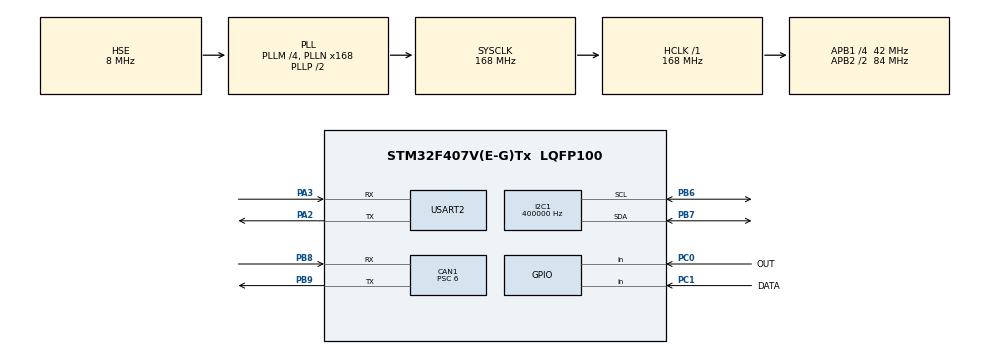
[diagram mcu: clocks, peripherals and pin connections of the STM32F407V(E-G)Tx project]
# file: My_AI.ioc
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CAN1.ABOM=ENABLE
CAN1.BS1=CAN_BS1_11TQ
CAN1.BS2=CAN_BS2_2TQ
CAN1.CalculateBaudRate=500000
CAN1.CalculateTimeBit=2000
CAN1.CalculateTimeQuantum=142.85714285714286
CAN1.NART=ENABLE
CAN1.Prescaler=6
Dma.Request0=USART2_RX
Dma.Request1=USART2_TX
Dma.USART2_RX.0.Direction=DMA_PERIPH_TO_MEMORY
Dma.USART2_RX.0.FIFOMode=DMA_FIFOMODE_DISABLE
Dma.USART2_RX.0.Instance=DMA1_Stream5
Dma.USART2_RX.0.MemDataAlignment=DMA_MDATAALIGN_BYTE
Dma.USART2_RX.0.MemInc=DMA_MINC_ENABLE
Dma.USART2_RX.0.Mode=DMA_NORMAL
Dma.USART2_RX.0.PeriphDataAlignment=DMA_PDATAALIGN_BYTE
Dma.USART2_RX.0.PeriphInc=DMA_PINC_DISABLE
Dma.USART2_RX.0.Priority=DMA_PRIORITY_LOW
Dma.USART2_TX.1.Direction=DMA_MEMORY_TO_PERIPH
Dma.USART2_TX.1.FIFOMode=DMA_FIFOMODE_DISABLE
Dma.USART2_TX.1.Instance=DMA1_Stream6
Dma.USART2_TX.1.MemDataAlignment=DMA_MDATAALIGN_BYTE
Dma.USART2_TX.1.MemInc=DMA_MINC_ENABLE
Dma.USART2_TX.1.Mode=DMA_NORMAL
Dma.USART2_TX.1.PeriphDataAlignment=DMA_PDATAALIGN_BYTE
Dma.USART2_TX.1.PeriphInc=DMA_PINC_DISABLE
Dma.USART2_TX.1.Priority=DMA_PRIORITY_LOW
I2C1.ClockSpeed=400000
Mcu.Family=STM32F4
Mcu.Name=STM32F407V(E-G)Tx
Mcu.Package=LQFP100
NVIC.DMA1_Stream5_IRQn=true\:5\:0\:false\:false\:true\:false\:true\:true
NVIC.DMA1_Stream6_IRQn=true\:5\:0\:false\:false\:true\:false\:true\:true
NVIC.PriorityGroup=NVIC_PRIORITYGROUP_4
NVIC.TIM6_DAC_IRQn=true\:15\:0\:false\:false\:true\:false\:true\:true
NVIC.TimeBase=TIM6_DAC_IRQn
NVIC.TimeBaseIP=TIM6
NVIC.USART2_IRQn=true\:5\:0\:false\:false\:true\:true\:true\:true
PA13.Mode=Serial_Wire
PA13.Signal=SYS_JTMS-SWDIO
PA14.Mode=Serial_Wire
PA14.Signal=SYS_JTCK-SWCLK
PA2.Mode=Asynchronous
PA2.Signal=USART2_TX
PA3.Mode=Asynchronous
PA3.Signal=USART2_RX
PB6.Mode=I2C
PB6.Signal=I2C1_SCL
PB7.Mode=I2C
PB7.Signal=I2C1_SDA
PB8.Mode=CAN_Activate
PB8.Signal=CAN1_RX
PB9.Mode=CAN_Activate
PB9.Signal=CAN1_TX
PC0.GPIO_Label=OUT
PC0.GPIO_PuPd=GPIO_PULLDOWN
PC0.Signal=GPIO_Input
PC1.GPIO_Label=DATA
PC1.GPIO_PuPd=GPIO_PULLDOWN
PC1.Signal=GPIO_Input
PH0-OSC_IN.Mode=HSE-External-Oscillator
PH0-OSC_IN.Signal=RCC_OSC_IN
PH1-OSC_OUT.Mode=HSE-External-Oscillator
PH1-OSC_OUT.Signal=RCC_OSC_OUT
ProjectManager.HeapSize=0x200
ProjectManager.StackSize=0x400
ProjectManager.TargetToolchain=STM32CubeIDE
RCC.48MHZClocksFreq_Value=84000000
RCC.AHBFreq_Value=168000000
RCC.APB1CLKDivider=RCC_HCLK_DIV4
RCC.APB1Freq_Value=42000000
RCC.APB1TimFreq_Value=84000000
RCC.APB2CLKDivider=RCC_HCLK_DIV2
RCC.APB2Freq_Value=84000000
RCC.APB2TimFreq_Value=168000000
RCC.CortexFreq_Value=168000000
RCC.HCLKFreq_Value=168000000
RCC.HSE_VALUE=8000000
RCC.HSI_VALUE=16000000
RCC.LSE_VALUE=32768
RCC.PLLM=4
RCC.PLLN=168
RCC.PLLSourceVirtual=RCC_PLLSOURCE_HSE
RCC.SYSCLKFreq_VALUE=168000000
RCC.SYSCLKSource=RCC_SYSCLKSOURCE_PLLCLK
RCC.VCOOutputFreq_Value=336000000
USART2.VirtualMode=VM_ASYNC
VP_SYS_VS_tim6.Mode=TIM6
board=custom

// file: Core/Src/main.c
/* USER CODE BEGIN Header */
/**
  ******************************************************************************
  * @file           : main.c
  * @brief          : Main program body
  ******************************************************************************
  * @attention
  *
  * Copyright (c) 2026 STMicroelectronics.
  * All rights reserved.
  *
  * This software is licensed under terms that can be found in the LICENSE file
  * in the root directory of this software component.
  * If no LICENSE file comes with this software, it is provided AS-IS.
  *
  ******************************************************************************
  */
/* USER CODE END Header */
#include "main.h"
#include "can.h"
#include "dma.h"
#include "i2c.h"
#include "usart.h"
#include "gpio.h"

/* USER CODE BEGIN Includes */
#include "FreeRTOS.h"
#include "task.h"

#include <stdio.h>          /* CAN_Start() 失败时的提示；printf 走 USART2，非阻塞 */

#include "driver_pir.h"
#include "dht11.h"
#include "oled_ui.h"
#include "app_report.h"
#include "app_cmd.h"
#include "isotp_port.h"
#include "dtc.h"
/* USER CODE END Includes */

void SystemClock_Config(void);
/* USER CODE BEGIN PFP */
static void StartDefaultTask(void *argument);
static void DisplayTask(void *argument);
/* USER CODE END PFP */

int main(void)
{

  /* MCU Configuration--------------------------------------------------------*/

  /* Reset of all peripherals, Initializes the Flash interface and the Systick. */
  HAL_Init();

  /* Configure the system clock */
  SystemClock_Config();

  /* Initialize all configured peripherals */
  MX_GPIO_Init();
  MX_DMA_Init();
  MX_CAN1_Init();
  MX_I2C1_Init();
  MX_USART2_UART_Init();
  /* USER CODE BEGIN 2 */
  /* 串口启动横幅：UART2(PA2/PA3, 115200 8N1) 初始化完立刻发一行。
     此刻调度器还没起来，printf 内部的 DMA 发送路径不依赖 RTOS，可以放心调。
     能收到这行 = 供电/时钟/接线/波特率都对；收不到再回去查 PA2 接的是不是
     接收端的 RX、是否共地、终端软件波特率是不是 115200 */
  printf("\r\n[My_AI] boot, UART2 (PA2/PA3) ready\r\n");

  /* PIR 初始化：只记下当前 tick 并清零状态，引脚本身已经在 MX_GPIO_Init()
     里配好了（PC0 输入 + 下拉，标签 OUT）。60s 预热窗口从这里开始算，所以必须
     放在启动阶段——放进任务里的话，等任务跑起来已经过去几百 ms 了 */
  PIR_Init();

  /* OLED 初始化：等 100ms 上电时间后写一整串初始化命令，并画出标题和分隔线。
     放在调度器启动前，正因为此时还没有别的任务，里面那 100ms 才允许用 HAL_Delay
     （驱动内部按"调度器起没起来"自己选，见 ssd1306.c）。屏没插、线接错也不影响
     启动，只是屏上什么都没有 */
  OLED_UI_Init();

  /* CAN 上线：配接收过滤器 + HAL_CAN_Start()。它不需要调度器，所以放在这里，
     开机 1s 内就能把第一个心跳帧发出去。
     失败不 Error_Handler()：那会关中断死循环，TIM6 时基停摆，连采集一起废掉
     （can.h 里有这条说明）。这里提示一句，之后什么帧都不会发出去。
     注意：总线上必须有别的节点应答（比如 Linux 端的 USB-CAN 适配器），
     单节点裸挂会一直 ACK 错误并最终 bus-off，见 Docs/CAN_Framing_Plan.md 第 8 节 */
  if (CAN_Start() != CAN_START_OK)
  {
    printf("[My_AI] CAN start FAILED, no frame will be sent\r\n");
  }
  else
  {
    printf("[My_AI] CAN started, 500 kbps\r\n");
  }

  /* 上报层初始化：清空快照。必须放在 PIR_Init() 之后——它要把当前 PIR 状态
     读进来当"上次见到的状态"的初值，否则第一轮会凭空发一帧事件帧 */
  Report_Init();

  /* 命令通道初始化：清空统计与去重缓存。必须放在 CAN_Start() 之后、
     调度器启动之前，避免启动初期收到的帧在缓存尚未就绪时被处理。
     CAN 接收从 CAN_Start() 起就是中断驱动的（中断只负责把帧搬进软件
     环形缓冲），命令的实际处理在 IsoTpPort_Task() 里（它排空缓冲后转给
     AppCmd_ProcessFrame()） */
  AppCmd_Init();

  /* ISO-TP 适配层初始化：只清状态、记住 TX/RX ID 和两个平台回调
     （tx_frame -> CAN_Send，now_ms -> HAL_GetTick），不碰总线。
     0x7E0/0x7E8 由下面的 ISO-TP 任务收发；当前只做 echo，不接 UDS */
  IsoTpPort_Init();

  /* 接收方向广播的流控参数默认已是 BS=8 / STmin=5ms（见 isotp_port.h 的
     ISOTP_PORT_BS_DEFAULT / ISOTP_PORT_STMIN_DEFAULT），要临时改可以在这里
     再调一次（必须在 Init 之后）。注意 STmin 必须大于 ISOTP_PORT_TASK_PERIOD_MS
     （1ms），否则会被强制成 0 并打印警告。
       IsoTpPort_SetFlowControl(8U, 5U); */

  printf("[My_AI] ISO-TP echo ready, rx 0x7E0 tx 0x7E8\r\n");

  /* 四个任务，除 ISO-TP 外栈都是 256 字（1KB）：printf/snprintf 的传播路径
     大约要 300 字节，长时间调试时用 uxTaskGetStackHighWaterMark() 看还剩多少。
     ISO-TP 任务给 384 字：它每收完一条消息都要打统计行，isotp_report_tx_done()
     本身有 208 字节局部变量，再叠加 printf 的调用深度，1KB 余量偏紧。

     PIR 采样(+2) 和 ISO-TP(+2) 最高：前者采样周期只有 10ms，得能抢占刷屏
     （刷一帧 OLED 要阻塞在 I2C 上约 25ms）；后者按 1ms 周期跑 STmin/N_Cr。
     两者都只做短促的工作，不会互相饿死。
     显示(+1) 和上报(+1) 同级：上报是秒级的活，靠时间片轮转就够，
     不该去抢采样的 CPU（同级任务在 tick 边界轮转，刷屏那 25ms 挡不住上报） */
  if (xTaskCreate(StartDefaultTask, "defaultTask", 256, NULL,
                  tskIDLE_PRIORITY + 2, NULL) != pdPASS)
  {
    Error_Handler();   /* 建不起来多半是 configTOTAL_HEAP_SIZE 不够 */
  }

  if (xTaskCreate(DisplayTask, "displayTask", 256, NULL,
                  tskIDLE_PRIORITY + 1, NULL) != pdPASS)
  {
    Error_Handler();
  }

  /* 上报任务：发周期帧和事件帧（见 app_report.c）。每 100ms 醒一次，
     被 PIR 跳变通知时提前醒。发送侧的并发由 CAN_Send() 内部的互斥量处理 */
  if (xTaskCreate(Report_Task, "reportTask", 256, NULL,
                  tskIDLE_PRIORITY + 1, NULL) != pdPASS)
  {
    Error_Handler();
  }

  /* ISO-TP 任务：CAN 接收环形缓冲的唯一消费者（命令帧转给 AppCmd_ProcessFrame），
     每 1ms 跑一次 isotp_tick() 处理超时并逐帧发 CF，收到完整消息就 echo。
     硬件 FIFO0 由 CAN1_RX0 中断搬进缓冲（can.c），中断里不打印、不做协议，
     所以 4KB 消息的 586 帧不会因为主循环忙而溢出。
     优先级比上报高一级：ISO-TP 的 STmin 和 N_Cr 都按毫秒计，不能被上报任务
     的 printf/组包拖慢；它每轮只做几次判空和最多 ISOTP_PORT_RX_BURST(16)
     帧处理，不占 CPU */
  if (xTaskCreate(IsoTpPort_Task, "isotpTask", 384, NULL,
                  tskIDLE_PRIORITY + 2, NULL) != pdPASS)
  {
    Error_Handler();
  }

  /* 启动调度器，正常情况不返回；返回说明连空闲任务都建不出来（堆耗尽），
     这时候已经没有任何任务在跑，只能停在这 */
  printf("[My_AI] tasks created, scheduler starting\r\n");
  vTaskStartScheduler();
  Error_Handler();
  /* USER CODE END 2 */

  /* Infinite loop */
  /* USER CODE BEGIN WHILE */
  /* 调度器已经在上面启动了，正常永远走不到这里；真走到这儿说明 vTaskStartScheduler()
     返回了，也就是启动失败。写在这里的代码不会被执行——任务体请写在
     StartDefaultTask()（文件末尾 USER CODE 4 段）里 */
  while (1)
  {
    /* USER CODE END WHILE */

  }
}

void SystemClock_Config(void)
{
  RCC_OscInitTypeDef RCC_OscInitStruct = {0};
  RCC_ClkInitTypeDef RCC_ClkInitStruct = {0};

  /** Configure the main internal regulator output voltage
  */
  __HAL_RCC_PWR_CLK_ENABLE();
  __HAL_PWR_VOLTAGESCALING_CONFIG(PWR_REGULATOR_VOLTAGE_SCALE1);

  /** Initializes the RCC Oscillators according to the specified parameters
  * in the RCC_OscInitTypeDef structure.
  */
  RCC_OscInitStruct.OscillatorType = RCC_OSCILLATORTYPE_HSE;
  RCC_OscInitStruct.HSEState = RCC_HSE_ON;
  RCC_OscInitStruct.PLL.PLLState = RCC_PLL_ON;
  RCC_OscInitStruct.PLL.PLLSource = RCC_PLLSOURCE_HSE;
  RCC_OscInitStruct.PLL.PLLM = 4;
  RCC_OscInitStruct.PLL.PLLN = 168;
  RCC_OscInitStruct.PLL.PLLP = RCC_PLLP_DIV2;
  RCC_OscInitStruct.PLL.PLLQ = 4;
  if (HAL_RCC_OscConfig(&RCC_OscInitStruct) != HAL_OK)
  {
    Error_Handler();
  }

  /** Initializes the CPU, AHB and APB buses clocks
  */
  RCC_ClkInitStruct.ClockType = RCC_CLOCKTYPE_HCLK|RCC_CLOCKTYPE_SYSCLK
                              |RCC_CLOCKTYPE_PCLK1|RCC_CLOCKTYPE_PCLK2;
  RCC_ClkInitStruct.SYSCLKSource = RCC_SYSCLKSOURCE_PLLCLK;
  RCC_ClkInitStruct.AHBCLKDivider = RCC_SYSCLK_DIV1;
  RCC_ClkInitStruct.APB1CLKDivider = RCC_HCLK_DIV4;
  RCC_ClkInitStruct.APB2CLKDivider = RCC_HCLK_DIV2;

  if (HAL_RCC_ClockConfig(&RCC_ClkInitStruct, FLASH_LATENCY_5) != HAL_OK)
  {
    Error_Handler();
  }
}

/* USER CODE BEGIN 4 */

/**
  * @brief  默认任务。原来裸机主循环要干的活搬到这里面。
  * @note   想加任务就照着这个模式：xTaskCreate() + 各自一个死循环。
  *         调度器没起来之前什么都不用做，起来之后按优先级抢占式调度。
  * @note   任务里要等，一律用 vTaskDelay() / vTaskDelayUntil() 或信号量，
  *         别再写 HAL_Delay() 和 while 轮询：HAL_Delay 是盯着 TIM6 计数自旋，
  *         等的时候这个任务攥着 CPU 不放，比它优先级低的任务全被饿死
  *         （SysTick 归调度器，HAL 时基是 TIM6）。只有调度器起来之前的
  *         初始化代码才该用 HAL_Delay —— 那时候没有别的任务可让。
  */
static void StartDefaultTask(void *argument)
{
  TickType_t last_wake;

  (void)argument;

  /* vTaskDelayUntil 按固定周期唤醒（相对 tick 计时，不受本轮干活耗时影响）。
     用 vTaskDelay 的话每轮多花的调度开销会累积，采样周期慢慢漂大，
     PIR 的消抖时间参数就不再有准头 */
  last_wake = xTaskGetTickCount();

  for (;;)
  {
    /* PIR 采样 + 滤波。内部自限频，这里按 PIR_SAMPLE_MS(10ms) 叫它即可。
       确认延迟 = PIR_FILTER_SAMPLES(5) * 实际周期 = 50ms（见 driver_pir.h）。
       注意 PIR_Task() 只能在一个任务里调 */
    PIR_Task();

    /* 状态跳变时唤醒上报任务，让它立刻发一帧事件帧（0x111）。
       内部自己记着上次见到的状态，没变就不通知，所以这里只是一次比较的开销。
       周期帧（心跳 / 状态 / 环境）由上报任务自己按时间发，不经过这里 */
    Report_NotifyPirChange();

    vTaskDelayUntil(&last_wake, pdMS_TO_TICKS(PIR_SAMPLE_MS));
  }
}

/**
  * @brief  显示任务：每 2s 读一次 DHT11，每 500ms 把温湿度和人体感应状态刷到 OLED。
  * @note   优先级比 PIR 任务低一级。刷一帧 OLED 要阻塞在 I2C 上约 25ms（400kHz），
  *         靠 PIR 任务的抢占让出 CPU，采样周期才不会被拖长。
  * @note   DHT11_Read() 内部有 20ms 的 vTaskDelay 和约 4ms 的关中断，只能在任务里
  *         调，而且不能和别的任务并发调（单总线时序会互相踩）。
  * @note   每轮把读到的值连同"可不可信"发布给 CAN 上报层（Report_PublishEnv）：
  *         有效性只在这里判一次，屏上显示的和 CAN 发出去的永远一致。
  *         DHT11 不可重入、只能有一个读者，所以由本任务当唯一的生产者。
  * @note   屏上的数值不是"实时值"：DHT11 约 1s 才更新一次，这里 2s 读一次；
  *         连续 5s 读不到成功值就显示 "--"，用来区分传感器问题和屏的问题。
  */
static void DisplayTask(void *argument)
{
  TickType_t   last_wake;
  TickType_t   last_read;
  TickType_t   last_ok_tick;
  DHT11_Data_t th;
  uint8_t      th_ok;
  uint8_t      th_ever;      /* 上电至今读到过成功值吗（区分"从没接上"和"读到过但掉线"） */

  (void)argument;

  th.humi_int   = 0U;
  th.humi_dec   = 0U;
  th.temp_int   = 0U;
  th.temp_dec   = 0U;
  th_ok         = 0U;
  th_ever       = 0U;
  last_ok_tick  = 0U;

  last_wake = xTaskGetTickCount();

  /* 把 last_read 往前推一个周期，让第一轮就立刻读一次，不用干等 2s */
  last_read = last_wake - pdMS_TO_TICKS(OLED_ENV_PERIOD_MS);

  for (;;)
  {
    TickType_t now = xTaskGetTickCount();

    /* --- 到点了就读一次 DHT11。
       先更新 last_read 再读：读失败也不在下一轮立刻重试——DHT11 连续读只会连续
       失败（它自己约 1s 才更新数据），白占 25ms 和一个 4ms 的临界区 */
    if ((now - last_read) >= pdMS_TO_TICKS(OLED_ENV_PERIOD_MS))
    {
      last_read = now;
      if (DHT11_Read(&th) != 0U)
      {
        th_ok        = 1U;
        th_ever      = 1U;
        last_ok_tick = now;

        Dtc_Report(DTC_CODE_DHT11, 0U);

        if ((th.temp_int > 50U) || (th.humi_int > 90U))
        {
          Dtc_Report(DTC_CODE_ENV_RANGE, 1U);
        }
        else
        {
          Dtc_Report(DTC_CODE_ENV_RANGE, 0U);
        }
      }
      else
      {
        Dtc_Report(DTC_CODE_DHT11, 1U);
      }
    }

    /* --- 数据过期判废：读成功过，但已经 OLED_ENV_STALE_MS(5s) 没再成功，就
       不再拿旧值充数，屏上显示 "--" */
    if ((th_ok != 0U) && ((now - last_ok_tick) > pdMS_TO_TICKS(OLED_ENV_STALE_MS)))
    {
      th_ok = 0U;
    }

    /* --- 发布给 CAN 上报层（快照，含上面算好的有效性判定）。
       th_ever 取反就是协议里的"从未读到"（NEVER）位：开机到第一次读成功之前
       上位机应该看到"传感器未就绪"，而不是"数据过期" */
    Report_PublishEnv(&th, th_ok, (uint8_t)((th_ever == 0U) ? 1U : 0U));

    /* --- 刷屏。PIR 的读取接口读的是单个字长，跨任务读不会读到撕裂值
       （driver_pir.h 里说明了它不是一致性快照，这里只是显示，够用） */
    OLED_UI_ShowEnv(&th, th_ok, PIR_GetState(), PIR_GetDetectionCount());

    vTaskDelayUntil(&last_wake, pdMS_TO_TICKS(OLED_REFRESH_MS));
  }
}

/**
  * @brief  任务栈溢出钩子（configCHECK_FOR_STACK_OVERFLOW == 2）。
  * @note   栈溢出已经把相邻内存踩烂了，继续跑没有意义。这里关中断停住，
  *         让调试器能抓到现场；正式产品可以改成先打印再复位。
  *         哪个任务溢出的：uxTaskGetStackHighWaterMark() 或看调试器的调用栈。
  */
void vApplicationStackOverflowHook(TaskHandle_t xTask, char *pcTaskName)
{
  (void)xTask;
  (void)pcTaskName;

  taskDISABLE_INTERRUPTS();
  for (;;)
  {
  }
}

/**
  * @brief  malloc 失败钩子（configUSE_MALLOC_FAILED_HOOK == 1）。
  * @note   绝大多数情况是 configTOTAL_HEAP_SIZE 给小了，或者任务删了没释放内存。
  */
void vApplicationMallocFailedHook(void)
{
  taskDISABLE_INTERRUPTS();
  for (;;)
  {
  }
}
/* USER CODE END 4 */

void HAL_TIM_PeriodElapsedCallback(TIM_HandleTypeDef *htim)
{
  if (htim->Instance == TIM6)
  {
    HAL_IncTick();
  }
}

void Error_Handler(void)
{
  __disable_irq();
  while (1)
  {
  }
}
